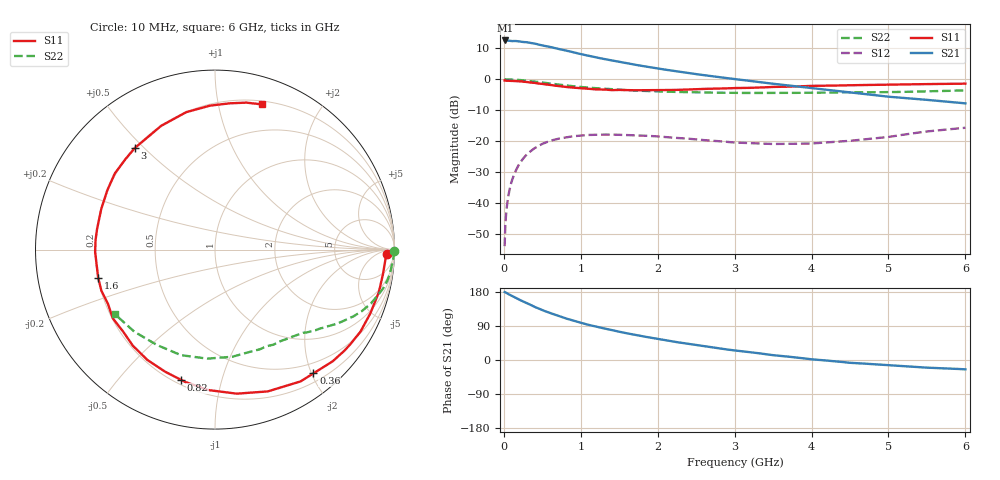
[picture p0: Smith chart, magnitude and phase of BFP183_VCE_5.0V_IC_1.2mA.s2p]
! Infineon Technologies  Discrete & RF Semiconductors
! BFP183
! VCE = 5.0 V,  IC =  1.2 mA
! Common Emitter S-Parameters:  Jan 2016
# GHz  S  MA  R  50
!  f  S11  S21  S12  S22
! GHz  MAG  ANG  MAG  ANG  MAG  ANG  MAG  ANG
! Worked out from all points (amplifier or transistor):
!   210 points, 10 MHz to 6 GHz, reference 50 ohm
!   highest |S21| = 12.6 dB at 20 MHz (marker M1)
!   |S21| within 3 dB of that: start of sweep to 761.4 MHz
!   unconditionally stable (mu >= 1): 2.428 GHz to end of sweep
!   at 185 MHz: K = 0.08, MSG = 20.2 dB, |S12| = -28.1 dB
!   at 1.52 GHz: K = 0.60, MSG = 11.8 dB, |S12| = -18.0 dB
!   at 6 GHz: K = 1.04, MAG = 2.8 dB, |S12| = -15.7 dB
!   S11 on the Smith chart (normalised r, x): 10 MHz: 35, -19; 360 MHz: 0.33, -2.03; 820 MHz: 0.23, -0.75; 1.6 GHz: 0.20, -0.11; 3 GHz: 0.20, +0.47; 6 GHz: 0.23, +1.35
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0.01  0.9572 -1.4  4.201 179.3  0.002 84.5  0.9995 -0.5
0.02  0.9514 -3.1  4.247 178.5  0.0045 84.1  0.9972 -1.1
0.035  0.9484 -5.3  4.243 176.7  0.0078 87.1  0.9963 -1.8
0.055  0.9458 -8.3  4.233 174.3  0.0122 87.0  0.9947 -2.8
0.12  0.938 -17.7  4.156 167.7  0.0261 78.4  0.9865 -6.2
0.15  0.9355 -22.4  4.177 164.5  0.0322 75.9  0.984 -7.8
0.24  0.92 -35.1  4.023 155.4  0.0502 69.3  0.9659 -12.2
0.3  0.904 -43.5  3.976 150.1  0.0612 64.4  0.9484 -14.8
0.36  0.881 -51.5  3.847 144.3  0.0705 59.4  0.9302 -17.3
0.4  0.8756 -57.0  3.785 140.2  0.0769 56.8  0.9191 -19.1
0.6  0.8118 -81.4  3.348 124.0  0.1011 43.6  0.8558 -25.8
0.82  0.7499 -104.6  2.901 108.9  0.1158 32.1  0.792 -31.5
1.02  0.7164 -123.3  2.523 97.2  0.1235 24.1  0.7474 -35.5
1.3  0.6861 -146.0  2.132 83.4  0.1276 14.9  0.703 -40.3
1.6  0.6695 -166.5  1.822 70.4  0.1258 7.7  0.6676 -44.8
2.02  0.6667 169.1  1.48 54.9  0.1186 1.6  0.6375 -51.5
2.4  0.6851 151.1  1.263 42.4  0.1094 -1.6  0.6218 -58.4
3  0.7209 128.4  1.012 25.0  0.0949 0.2  0.6027 -70.1
3.1  0.7231 125.3  0.976 22.9  0.0938 1.4  0.6014 -72.3
4.1  0.7846 99.8  0.698 0.3  0.0934 16.6  0.6078 -96.8
5.1  0.8218 83.0  0.511 -15.0  0.1221 27.4  0.6234 -124.1
6  0.8502 72.1  0.408 -24.6  0.1644 23.8  0.6636 -147.1
